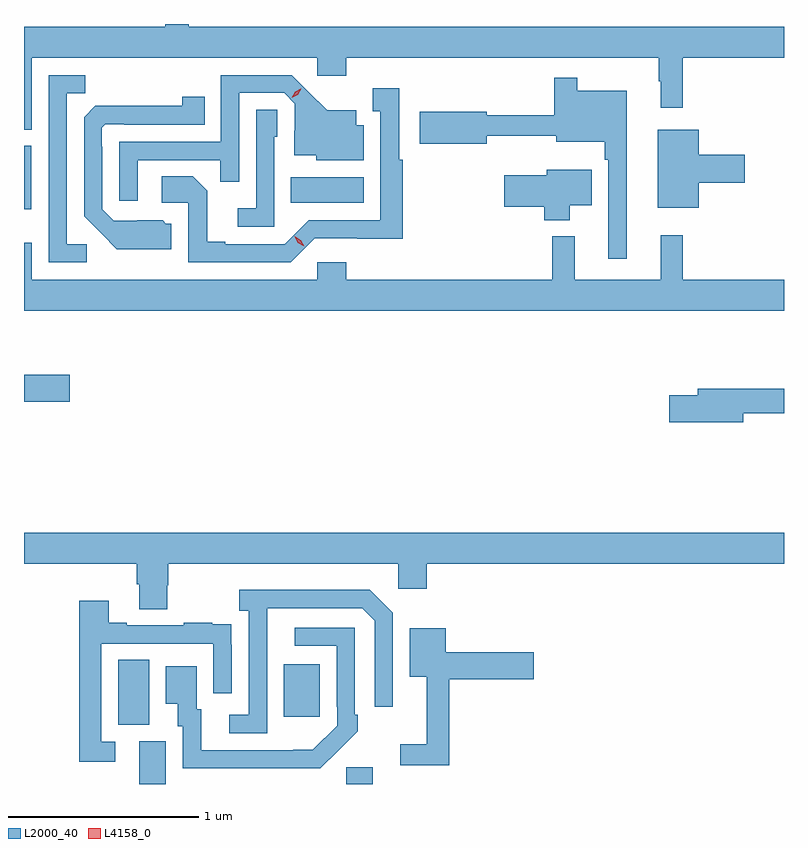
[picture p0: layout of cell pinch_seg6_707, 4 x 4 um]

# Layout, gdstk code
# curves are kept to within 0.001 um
import gdstk
lib = gdstk.Library(unit=1e-6, precision=1e-09)
def R(c, l, rs):  # rectangles x0, y0, x1, y1
    for r in rs: c.add(gdstk.rectangle(r[:2], r[2:], *l))
def P(c, l, *ps):  # polygons
    for p in ps: c.add(gdstk.Polygon(p, *l))
L2000_40 = (2000, 40)
L4158_0 = (4158, 0)

pinch_seg6_707 = lib.new_cell('pinch_seg6_707')
R(pinch_seg6_707, L2000_40, [(597.443,944.846,597.583,945.072), (598.533,944.846,598.672,944.934), (597.332,945.157,597.496,945.5), (598.205,945.201,598.393,945.475), (596.837,946.859,597.079,947.001), (596.837,947.87,596.875,948.205), (598.24,947.906,598.624,948.04)])
P(pinch_seg6_707, L2000_40, [(596.878,948.668),(598.38,948.668),(598.38,948.573),(598.532,948.573),(598.532,948.668),(600.177,948.668),(600.177,948.545),(600.188,948.545),(600.188,948.405),(600.305,948.405),(600.305,948.668),(600.837,948.668),(600.837,948.832),(597.703,948.832),(597.703,948.846),(597.581,948.846),(597.581,948.832),(596.837,948.832),(596.837,948.29),(596.878,948.29)],
  [(597.166,947.688),(597.063,947.688),(597.063,948.481),(597.159,948.481),(597.159,948.576),(596.967,948.576),(596.967,947.592),(597.166,947.592)],
  [(597.435,948.129),(597.871,948.129),(597.871,948.016),(597.969,948.016),(597.969,948.483),(598.206,948.483),(598.263,948.426),(598.263,948.284),(598.259,948.284),(598.259,948.155),(598.374,948.155),(598.374,948.128),(598.624,948.128),(598.624,948.312),(598.585,948.312),(598.585,948.391),(598.433,948.391),(598.246,948.576),(597.873,948.576),(597.873,948.225),(597.339,948.225),(597.339,947.916),(597.435,947.916)],
  [(600.01,948.496),(599.749,948.496),(599.749,948.562),(599.628,948.562),(599.628,948.367),(599.272,948.367),(599.272,948.385),(598.92,948.385),(598.92,948.215),(599.272,948.215),(599.272,948.257),(599.639,948.257),(599.639,948.227),(599.893,948.227),(599.893,948.131),(599.913,948.131),(599.913,947.61),(600.01,947.61)],
  [(598.368,947.718),(598.831,947.717),(598.831,948.131),(598.813,948.131),(598.813,948.508),(598.673,948.508),(598.673,948.387),(598.712,948.387),(598.712,947.814),(598.335,947.814),(598.209,947.688),(597.895,947.688),(597.895,947.701),(597.801,947.701),(597.801,947.968),(597.725,948.044),(597.561,948.044),(597.561,947.904),(597.702,947.904),(597.702,947.592),(598.242,947.592)],
  [(597.613,947.796),(597.582,947.796),(597.566,947.812),(597.309,947.811),(597.249,947.871),(597.249,948.2),(597.246,948.2),(597.246,948.3),(597.264,948.318),(597.364,948.318),(597.364,948.315),(597.788,948.315),(597.788,948.463),(597.67,948.463),(597.67,948.416),(597.212,948.415),(597.153,948.356),(597.153,947.834),(597.325,947.66),(597.613,947.66)],
  [(598.155,948.252),(598.17,948.252),(598.17,948.395),(598.059,948.395),(598.059,947.875),(597.963,947.875),(597.963,947.778),(598.155,947.778)],
  [(600.388,948.011),(600.631,948.011),(600.631,948.158),(600.388,948.158),(600.388,948.289),(600.173,948.289),(600.173,947.879),(600.388,947.879)],
  [(599.71,947.891),(599.824,947.891),(599.824,948.079),(599.588,948.079),(599.588,948.049),(599.364,948.049),(599.364,947.884),(599.576,947.884),(599.576,947.813),(599.71,947.813)],
  [(600.837,947.5),(600.305,947.5),(600.305,947.734),(600.188,947.734),(600.188,947.5),(599.735,947.5),(599.735,947.728),(599.617,947.728),(599.617,947.5),(598.532,947.5),(598.532,947.593),(598.38,947.593),(598.38,947.5),(596.878,947.5),(596.878,947.695),(596.837,947.695),(596.837,947.336),(600.837,947.336)],
  [(600.622,946.798),(600.837,946.798),(600.837,946.927),(600.383,946.927),(600.383,946.893),(600.234,946.893),(600.234,946.751),(600.622,946.751)],
  [(597.591,945.891),(597.596,945.891),(597.596,946.004),(598.806,946.004),(598.806,945.873),(598.958,945.873),(598.958,946.004),(600.837,946.004),(600.837,946.168),(596.837,946.168),(596.837,946.004),(597.431,946.004),(597.431,945.898),(597.443,945.898),(597.443,945.766),(597.591,945.766)],
  [(598.116,945.571),(598.117,945.771),(598.617,945.771),(598.683,945.705),(598.683,945.252),(598.779,945.252),(598.779,945.747),(598.658,945.868),(597.969,945.868),(597.969,945.758),(598.02,945.758),(598.02,945.21),(597.918,945.21),(597.918,945.114),(598.116,945.114)],
  [(597.316,945.069),(597.243,945.069),(597.243,945.585),(597.834,945.585),(597.834,945.324),(597.93,945.324),(597.93,945.578),(597.929,945.578),(597.929,945.687),(597.827,945.687),(597.827,945.694),(597.679,945.694),(597.679,945.681),(597.379,945.681),(597.379,945.694),(597.283,945.694),(597.283,945.811),(597.127,945.811),(597.127,944.964),(597.316,944.964)],
  [(598.487,945.019),(598.488,945.018),(598.593,945.123),(598.593,945.211),(598.578,945.211),(598.578,945.669),(598.263,945.669),(598.263,945.573),(598.482,945.573),(598.482,945.253),(598.485,945.253),(598.485,945.153),(598.357,945.025),(597.769,945.024),(597.769,945.24),(597.745,945.24),(597.745,945.466),(597.584,945.466),(597.584,945.269),(597.647,945.269),(597.647,945.15),(597.672,945.15),(597.672,944.928),(598.396,944.928)],
  [(599.075,945.398),(599.521,945.398),(599.521,945.54),(599.056,945.54),(599.056,945.667),(598.868,945.667),(598.868,945.41),(598.958,945.41),(598.958,945.055),(598.818,945.055),(598.818,944.946),(599.075,944.946)])
P(pinch_seg6_707, L4158_0, [(598.311,947.676),(598.279,947.695),(598.262,947.728),(598.262,947.728),(598.263,947.728),(598.294,947.709),(598.311,947.676),(598.311,947.676)],
  [(598.247,948.459),(598.247,948.459),(598.264,948.489),(598.294,948.504),(598.295,948.504),(598.295,948.504),(598.278,948.474),(598.247,948.459)])

lib.write_gds('pinch_seg6_707.gds')
